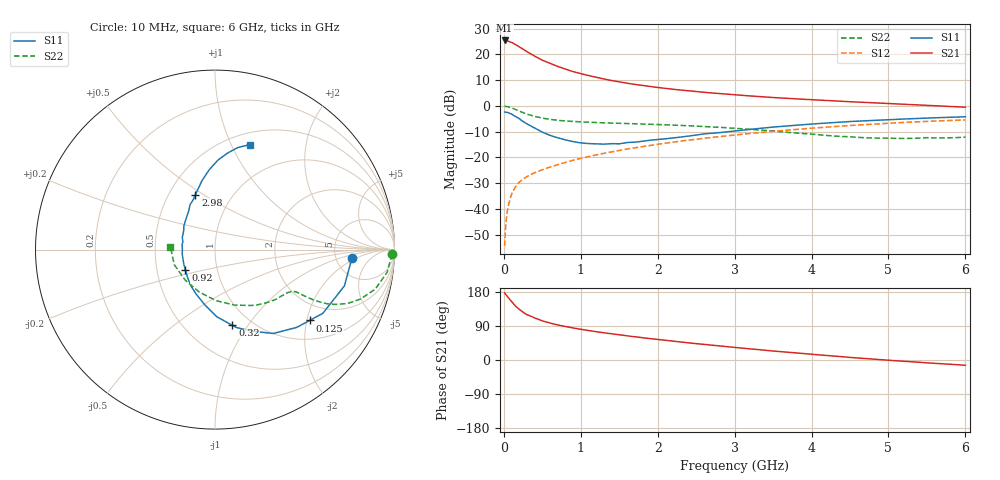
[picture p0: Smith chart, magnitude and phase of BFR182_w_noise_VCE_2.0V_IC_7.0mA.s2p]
! Infineon Technologies  Discrete & RF Semiconductors
! BFR182
! VCE =  2.0 V,  IC =  7.0 mA
! Common Emitter S-Parameters:  Nov 2015
# GHz  S  MA  R  50
!  f  S11  S21  S12  S22
! GHz  MAG  ANG  MAG  ANG  MAG  ANG  MAG  ANG
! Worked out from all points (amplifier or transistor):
!   210 points, 10 MHz to 6 GHz, reference 50 ohm
!   highest |S21| = 25.4 dB at 10 MHz (marker M1)
!   |S21| within 3 dB of that: start of sweep to 229.1 MHz
!   unconditionally stable (mu >= 1): 887.9 MHz to 2.743 GHz
!   at 185 MHz: K = 0.41, MSG = 26.7 dB, |S12| = -30.1 dB
!   at 1.52 GHz: K = 1.06, MAG = 11.7 dB, |S12| = -17.2 dB
!   at 6 GHz: K = 0.89, MSG = 2.5 dB, |S12| = -5.4 dB
!   lowest NFmin = 1.30 dB at 450 MHz
!   S11 on the Smith chart (normalised r, x): 10 MHz: 7.07, -1.52; 125 MHz: 1.49, -2.08; 320 MHz: 0.82, -0.85; 920 MHz: 0.70, -0.17; 2.98 GHz: 0.68, +0.46; 6 GHz: 0.62, +1.18
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0.01  0.762 -3.4  18.67 177.3  0.0019 90.6  0.9867 -1.5
0.02  0.7578 -6.3  18.66 174.3  0.0039 82.1  0.9804 -3.1
0.05  0.7488 -15.7  18.27 166.4  0.0099 83.0  0.9674 -7.5
0.1  0.6978 -30.6  17.18 154.0  0.0192 75.9  0.9202 -13.8
0.125  0.6586 -36.8  16.33 148.4  0.0229 72.4  0.8863 -16.3
0.15  0.6281 -43.7  15.65 142.3  0.0267 69.9  0.8541 -18.9
0.2  0.569 -55.2  14.09 133.7  0.033 67.2  0.7958 -22.2
0.26  0.4886 -67.3  12.37 124.7  0.039 64.3  0.7307 -24.7
0.3  0.4498 -74.7  11.33 119.7  0.0424 63.8  0.693 -25.8
0.32  0.4329 -77.1  10.9 118.2  0.044 63.5  0.6797 -26.0
0.4  0.3741 -88.5  9.261 110.9  0.0506 62.7  0.6267 -27.0
0.5  0.311 -100.9  7.732 103.2  0.0578 62.6  0.5806 -27.3
0.7  0.2413 -124.3  5.845 92.4  0.0724 63.7  0.526 -27.5
0.92  0.2007 -145.3  4.558 83.8  0.0899 64.4  0.4981 -28.0
1.02  0.1904 -156.4  4.161 80.3  0.0975 64.9  0.4892 -28.5
1.4  0.1855 171.4  3.114 69.1  0.1281 64.8  0.4649 -31.7
2.02  0.2245 138.7  2.267 53.8  0.1823 62.0  0.4363 -39.6
2.98  0.3241 109.7  1.653 33.4  0.2715 54.6  0.3704 -57.2
3.1  0.3384 107.4  1.604 31.3  0.2829 53.3  0.359 -60.0
4.1  0.4557 92.9  1.297 13.5  0.3793 42.7  0.2752 -92.6
5.1  0.5501 81.5  1.098 -2.0  0.4705 30.3  0.2347 -139.5
6  0.6169 71.6  0.946 -13.9  0.5351 17.7  0.2483 176.9
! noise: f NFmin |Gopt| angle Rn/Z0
0.45  1.3  0.26  40  0.29
0.9  1.45  0.25  81  0.23
1.8  2  0.21  157  0.2
